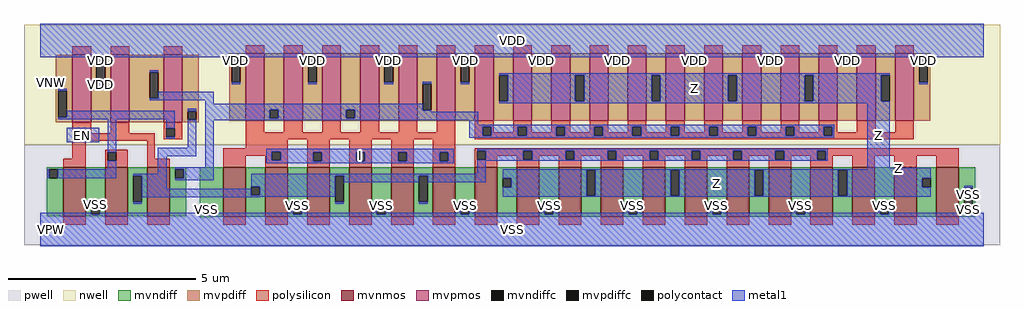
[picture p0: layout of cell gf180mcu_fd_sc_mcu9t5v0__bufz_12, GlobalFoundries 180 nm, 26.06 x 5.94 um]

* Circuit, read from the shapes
.subckt gf180mcu_fd_sc_mcu9t5v0__bufz_12 EN I Z VDD VNW VPW VSS
XM1 VSS EN n1 VPW nfet_06v0 w=1.32u l=0.6u
XM2 n2 n1 VSS VPW nfet_06v0 w=1.32u l=0.6u
XM3 n3 EN n2 VPW nfet_06v0 w=1.32u l=0.6u
XM4 n2 I VSS VPW nfet_06v0 w=1.32u l=0.6u m=6
XM5 Z n2 VSS VPW nfet_06v0 w=1.32u l=0.6u m=12
XM6 VDD EN n1 VNW pfet_06v0 w=1.8u l=0.5u
XM7 n3 EN VDD VNW pfet_06v0 w=1.8u l=0.5u
XM8 n2 n1 n3 VNW pfet_06v0 w=1.8u l=0.5u
XM9 n3 I VDD VNW pfet_06v0 w=1.8u l=0.5u m=6
XM10 Z n3 VDD VNW pfet_06v0 w=1.8u l=0.5u m=12
.ends

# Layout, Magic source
magic
tech gf180mcuD
magscale 1 10
<< nwell >>
rect -86 453 5126 1094
<< pwell >>
rect -86 -86 5126 453
<< mvnmos >>
rect 124 69 244 333
rect 348 69 468 333
rect 572 69 692 333
rect 978 68 1098 332
rect 1202 68 1322 332
rect 1426 68 1546 332
rect 1650 68 1770 332
rect 1874 68 1994 332
rect 2098 68 2218 332
rect 2322 68 2442 332
rect 2546 68 2666 332
rect 2770 68 2890 332
rect 2994 68 3114 332
rect 3218 68 3338 332
rect 3442 68 3562 332
rect 3666 68 3786 332
rect 3890 68 4010 332
rect 4114 68 4234 332
rect 4338 68 4458 332
rect 4562 68 4682 332
rect 4786 68 4906 332
<< mvpmos >>
rect 172 573 272 933
rect 376 573 476 933
rect 660 573 760 933
rect 1098 580 1198 940
rect 1302 580 1402 940
rect 1506 580 1606 940
rect 1710 580 1810 940
rect 1914 580 2014 940
rect 2118 580 2218 940
rect 2322 580 2422 940
rect 2526 580 2626 940
rect 2730 580 2830 940
rect 2934 580 3034 940
rect 3138 580 3238 940
rect 3342 580 3442 940
rect 3546 580 3646 940
rect 3750 580 3850 940
rect 3954 580 4054 940
rect 4158 580 4258 940
rect 4362 580 4462 940
rect 4566 580 4666 940
<< mvndiff >>
rect 36 320 124 333
rect 36 274 49 320
rect 95 274 124 320
rect 36 69 124 274
rect 244 128 348 333
rect 244 82 273 128
rect 319 82 348 128
rect 244 69 348 82
rect 468 287 572 333
rect 468 147 497 287
rect 543 147 572 287
rect 468 69 572 147
rect 692 320 780 333
rect 692 274 721 320
rect 767 274 780 320
rect 692 69 780 274
rect 852 125 978 332
rect 852 79 865 125
rect 911 79 978 125
rect 852 68 978 79
rect 1098 228 1202 332
rect 1098 182 1127 228
rect 1173 182 1202 228
rect 1098 68 1202 182
rect 1322 127 1426 332
rect 1322 81 1351 127
rect 1397 81 1426 127
rect 1322 68 1426 81
rect 1546 287 1650 332
rect 1546 147 1575 287
rect 1621 147 1650 287
rect 1546 68 1650 147
rect 1770 127 1874 332
rect 1770 81 1799 127
rect 1845 81 1874 127
rect 1770 68 1874 81
rect 1994 287 2098 332
rect 1994 147 2023 287
rect 2069 147 2098 287
rect 1994 68 2098 147
rect 2218 127 2322 332
rect 2218 81 2247 127
rect 2293 81 2322 127
rect 2218 68 2322 81
rect 2442 272 2546 332
rect 2442 226 2471 272
rect 2517 226 2546 272
rect 2442 68 2546 226
rect 2666 127 2770 332
rect 2666 81 2695 127
rect 2741 81 2770 127
rect 2666 68 2770 81
rect 2890 319 2994 332
rect 2890 179 2919 319
rect 2965 179 2994 319
rect 2890 68 2994 179
rect 3114 127 3218 332
rect 3114 81 3143 127
rect 3189 81 3218 127
rect 3114 68 3218 81
rect 3338 319 3442 332
rect 3338 179 3367 319
rect 3413 179 3442 319
rect 3338 68 3442 179
rect 3562 127 3666 332
rect 3562 81 3591 127
rect 3637 81 3666 127
rect 3562 68 3666 81
rect 3786 319 3890 332
rect 3786 179 3815 319
rect 3861 179 3890 319
rect 3786 68 3890 179
rect 4010 127 4114 332
rect 4010 81 4039 127
rect 4085 81 4114 127
rect 4010 68 4114 81
rect 4234 319 4338 332
rect 4234 179 4263 319
rect 4309 179 4338 319
rect 4234 68 4338 179
rect 4458 127 4562 332
rect 4458 81 4487 127
rect 4533 81 4562 127
rect 4458 68 4562 81
rect 4682 272 4786 332
rect 4682 226 4711 272
rect 4757 226 4786 272
rect 4682 68 4786 226
rect 4906 221 4994 332
rect 4906 81 4935 221
rect 4981 81 4994 221
rect 4906 68 4994 81
rect 852 66 918 68
<< mvpdiff >>
rect 84 739 172 933
rect 84 599 97 739
rect 143 599 172 739
rect 84 573 172 599
rect 272 920 376 933
rect 272 780 301 920
rect 347 780 376 920
rect 272 573 376 780
rect 476 840 660 933
rect 476 700 585 840
rect 631 700 660 840
rect 476 573 660 700
rect 760 632 848 933
rect 760 586 789 632
rect 835 586 848 632
rect 760 573 848 586
rect 1010 927 1098 940
rect 1010 787 1023 927
rect 1069 787 1098 927
rect 1010 580 1098 787
rect 1198 639 1302 940
rect 1198 593 1227 639
rect 1273 593 1302 639
rect 1198 580 1302 593
rect 1402 927 1506 940
rect 1402 787 1431 927
rect 1477 787 1506 927
rect 1402 580 1506 787
rect 1606 639 1710 940
rect 1606 593 1635 639
rect 1681 593 1710 639
rect 1606 580 1710 593
rect 1810 927 1914 940
rect 1810 787 1839 927
rect 1885 787 1914 927
rect 1810 580 1914 787
rect 2014 777 2118 940
rect 2014 637 2043 777
rect 2089 637 2118 777
rect 2014 580 2118 637
rect 2218 927 2322 940
rect 2218 787 2247 927
rect 2293 787 2322 927
rect 2218 580 2322 787
rect 2422 824 2526 940
rect 2422 684 2451 824
rect 2497 684 2526 824
rect 2422 580 2526 684
rect 2626 927 2730 940
rect 2626 881 2655 927
rect 2701 881 2730 927
rect 2626 580 2730 881
rect 2830 824 2934 940
rect 2830 684 2859 824
rect 2905 684 2934 824
rect 2830 580 2934 684
rect 3034 927 3138 940
rect 3034 881 3063 927
rect 3109 881 3138 927
rect 3034 580 3138 881
rect 3238 824 3342 940
rect 3238 684 3267 824
rect 3313 684 3342 824
rect 3238 580 3342 684
rect 3442 927 3546 940
rect 3442 881 3471 927
rect 3517 881 3546 927
rect 3442 580 3546 881
rect 3646 824 3750 940
rect 3646 684 3675 824
rect 3721 684 3750 824
rect 3646 580 3750 684
rect 3850 927 3954 940
rect 3850 881 3879 927
rect 3925 881 3954 927
rect 3850 580 3954 881
rect 4054 824 4158 940
rect 4054 684 4083 824
rect 4129 684 4158 824
rect 4054 580 4158 684
rect 4258 927 4362 940
rect 4258 881 4287 927
rect 4333 881 4362 927
rect 4258 580 4362 881
rect 4462 824 4566 940
rect 4462 684 4491 824
rect 4537 684 4566 824
rect 4462 580 4566 684
rect 4666 927 4754 940
rect 4666 787 4695 927
rect 4741 787 4754 927
rect 4666 580 4754 787
<< mvndiffc >>
rect 49 274 95 320
rect 273 82 319 128
rect 497 147 543 287
rect 721 274 767 320
rect 865 79 911 125
rect 1127 182 1173 228
rect 1351 81 1397 127
rect 1575 147 1621 287
rect 1799 81 1845 127
rect 2023 147 2069 287
rect 2247 81 2293 127
rect 2471 226 2517 272
rect 2695 81 2741 127
rect 2919 179 2965 319
rect 3143 81 3189 127
rect 3367 179 3413 319
rect 3591 81 3637 127
rect 3815 179 3861 319
rect 4039 81 4085 127
rect 4263 179 4309 319
rect 4487 81 4533 127
rect 4711 226 4757 272
rect 4935 81 4981 221
<< mvpdiffc >>
rect 97 599 143 739
rect 301 780 347 920
rect 585 700 631 840
rect 789 586 835 632
rect 1023 787 1069 927
rect 1227 593 1273 639
rect 1431 787 1477 927
rect 1635 593 1681 639
rect 1839 787 1885 927
rect 2043 637 2089 777
rect 2247 787 2293 927
rect 2451 684 2497 824
rect 2655 881 2701 927
rect 2859 684 2905 824
rect 3063 881 3109 927
rect 3267 684 3313 824
rect 3471 881 3517 927
rect 3675 684 3721 824
rect 3879 881 3925 927
rect 4083 684 4129 824
rect 4287 881 4333 927
rect 4491 684 4537 824
rect 4695 787 4741 927
<< polysilicon >>
rect 172 933 272 977
rect 376 933 476 977
rect 660 933 760 977
rect 1098 940 1198 984
rect 1302 940 1402 984
rect 1506 940 1606 984
rect 1710 940 1810 984
rect 1914 940 2014 984
rect 2118 940 2218 984
rect 2322 940 2422 984
rect 2526 940 2626 984
rect 2730 940 2830 984
rect 2934 940 3034 984
rect 3138 940 3238 984
rect 3342 940 3442 984
rect 3546 940 3646 984
rect 3750 940 3850 984
rect 3954 940 4054 984
rect 4158 940 4258 984
rect 4362 940 4462 984
rect 4566 940 4666 984
rect 172 523 272 573
rect 172 477 185 523
rect 231 513 272 523
rect 376 513 476 573
rect 660 540 760 573
rect 231 477 612 513
rect 660 494 673 540
rect 719 494 760 540
rect 660 481 760 494
rect 1098 520 1198 580
rect 1302 520 1402 580
rect 1506 520 1606 580
rect 1710 520 1810 580
rect 1914 520 2014 580
rect 2118 520 2218 580
rect 172 473 612 477
rect 172 377 244 473
rect 124 333 244 377
rect 348 412 468 425
rect 348 366 361 412
rect 407 366 468 412
rect 348 333 468 366
rect 572 377 612 473
rect 1098 480 2218 520
rect 2322 547 2422 580
rect 2322 501 2363 547
rect 2409 520 2422 547
rect 2526 547 2626 580
rect 2526 520 2552 547
rect 2409 501 2552 520
rect 2598 520 2626 547
rect 2730 547 2830 580
rect 2730 520 2757 547
rect 2598 501 2757 520
rect 2803 520 2830 547
rect 2934 547 3034 580
rect 2934 520 2959 547
rect 2803 501 2959 520
rect 3005 520 3034 547
rect 3138 547 3238 580
rect 3138 520 3163 547
rect 3005 501 3163 520
rect 3209 520 3238 547
rect 3342 547 3442 580
rect 3342 520 3368 547
rect 3209 501 3368 520
rect 3414 520 3442 547
rect 3546 547 3646 580
rect 3546 520 3573 547
rect 3414 501 3573 520
rect 3619 520 3646 547
rect 3750 547 3850 580
rect 3750 520 3778 547
rect 3619 501 3778 520
rect 3824 520 3850 547
rect 3954 547 4054 580
rect 3954 520 3981 547
rect 3824 501 3981 520
rect 4027 520 4054 547
rect 4158 547 4258 580
rect 4158 520 4185 547
rect 4027 501 4185 520
rect 4231 520 4258 547
rect 4362 520 4462 580
rect 4566 520 4666 580
rect 4231 501 4666 520
rect 2322 480 4666 501
rect 1098 432 1322 480
rect 978 414 1322 432
rect 978 392 1238 414
rect 572 333 692 377
rect 978 332 1098 392
rect 1202 368 1238 392
rect 1284 368 1322 414
rect 1202 332 1322 368
rect 1426 411 1546 480
rect 1426 365 1458 411
rect 1504 365 1546 411
rect 1426 332 1546 365
rect 1650 411 1770 480
rect 1650 365 1688 411
rect 1734 365 1770 411
rect 1650 332 1770 365
rect 1874 411 1994 480
rect 1874 365 1912 411
rect 1958 365 1994 411
rect 1874 332 1994 365
rect 2098 411 2218 480
rect 2098 365 2134 411
rect 2180 365 2218 411
rect 2098 332 2218 365
rect 2322 419 4906 432
rect 2322 373 2335 419
rect 2381 392 2581 419
rect 2381 373 2442 392
rect 2322 332 2442 373
rect 2546 373 2581 392
rect 2627 392 2806 419
rect 2627 373 2666 392
rect 2546 332 2666 373
rect 2770 373 2806 392
rect 2852 392 3032 419
rect 2852 373 2890 392
rect 2770 332 2890 373
rect 2994 373 3032 392
rect 3078 392 3255 419
rect 3078 373 3114 392
rect 2994 332 3114 373
rect 3218 373 3255 392
rect 3301 392 3479 419
rect 3301 373 3338 392
rect 3218 332 3338 373
rect 3442 373 3479 392
rect 3525 392 3702 419
rect 3525 373 3562 392
rect 3442 332 3562 373
rect 3666 373 3702 392
rect 3748 392 3927 419
rect 3748 373 3786 392
rect 3666 332 3786 373
rect 3890 373 3927 392
rect 3973 392 4150 419
rect 3973 373 4010 392
rect 3890 332 4010 373
rect 4114 373 4150 392
rect 4196 392 4906 419
rect 4196 373 4234 392
rect 4114 332 4234 373
rect 4338 332 4458 392
rect 4562 332 4682 392
rect 4786 332 4906 392
rect 124 25 244 69
rect 348 25 468 69
rect 572 25 692 69
rect 978 24 1098 68
rect 1202 24 1322 68
rect 1426 24 1546 68
rect 1650 24 1770 68
rect 1874 24 1994 68
rect 2098 24 2218 68
rect 2322 24 2442 68
rect 2546 24 2666 68
rect 2770 24 2890 68
rect 2994 24 3114 68
rect 3218 24 3338 68
rect 3442 24 3562 68
rect 3666 24 3786 68
rect 3890 24 4010 68
rect 4114 24 4234 68
rect 4338 24 4458 68
rect 4562 24 4682 68
rect 4786 24 4906 68
<< polycontact >>
rect 185 477 231 523
rect 673 494 719 540
rect 361 366 407 412
rect 2363 501 2409 547
rect 2552 501 2598 547
rect 2757 501 2803 547
rect 2959 501 3005 547
rect 3163 501 3209 547
rect 3368 501 3414 547
rect 3573 501 3619 547
rect 3778 501 3824 547
rect 3981 501 4027 547
rect 4185 501 4231 547
rect 1238 368 1284 414
rect 1458 365 1504 411
rect 1688 365 1734 411
rect 1912 365 1958 411
rect 2134 365 2180 411
rect 2335 373 2381 419
rect 2581 373 2627 419
rect 2806 373 2852 419
rect 3032 373 3078 419
rect 3255 373 3301 419
rect 3479 373 3525 419
rect 3702 373 3748 419
rect 3927 373 3973 419
rect 4150 373 4196 419
<< metal1 >>
rect 0 927 5040 1098
rect 0 920 1023 927
rect 0 918 301 920
rect 347 918 1023 920
rect 301 769 347 780
rect 585 840 631 851
rect 97 739 143 750
rect 1069 918 1431 927
rect 1023 776 1069 787
rect 1477 918 1839 927
rect 1431 776 1477 787
rect 1885 918 2247 927
rect 1839 776 1885 787
rect 2043 777 2089 788
rect 631 700 927 735
rect 585 689 927 700
rect 881 672 927 689
rect 143 599 719 634
rect 97 588 719 599
rect 142 523 315 542
rect 142 477 185 523
rect 231 477 315 523
rect 142 466 315 477
rect 361 412 407 588
rect 673 540 719 588
rect 673 483 719 494
rect 789 632 835 643
rect 789 437 835 586
rect 361 320 407 366
rect 38 274 49 320
rect 95 274 407 320
rect 629 391 835 437
rect 881 639 2043 672
rect 881 593 1227 639
rect 1273 593 1635 639
rect 1681 637 2043 639
rect 2293 918 2655 927
rect 2644 881 2655 918
rect 2701 918 3063 927
rect 2701 881 2712 918
rect 3052 881 3063 918
rect 3109 918 3471 927
rect 3109 881 3120 918
rect 3460 881 3471 918
rect 3517 918 3879 927
rect 3517 881 3528 918
rect 3868 881 3879 918
rect 3925 918 4287 927
rect 3925 881 3936 918
rect 4276 881 4287 918
rect 4333 918 4695 927
rect 4333 881 4344 918
rect 2247 776 2293 787
rect 2451 824 4537 835
rect 2497 684 2859 824
rect 2905 684 3267 824
rect 3313 684 3675 824
rect 3721 684 4083 824
rect 4129 684 4491 824
rect 4741 918 5040 927
rect 4695 776 4741 787
rect 2451 673 4537 684
rect 1681 628 2089 637
rect 1681 593 2339 628
rect 881 582 2339 593
rect 629 298 675 391
rect 881 331 927 582
rect 2293 558 2339 582
rect 2293 547 4242 558
rect 2293 501 2363 547
rect 2409 501 2552 547
rect 2598 501 2757 547
rect 2803 501 2959 547
rect 3005 501 3163 547
rect 3209 501 3368 547
rect 3414 501 3573 547
rect 3619 501 3778 547
rect 3824 501 3981 547
rect 4027 501 4185 547
rect 4231 501 4242 547
rect 2293 490 4242 501
rect 1208 414 2210 430
rect 1208 368 1238 414
rect 1284 411 2210 414
rect 1284 368 1458 411
rect 1208 365 1458 368
rect 1504 365 1688 411
rect 1734 365 1912 411
rect 1958 365 2134 411
rect 2180 365 2210 411
rect 1208 354 2210 365
rect 2335 419 4207 430
rect 2381 373 2581 419
rect 2627 373 2806 419
rect 2852 373 3032 419
rect 3078 373 3255 419
rect 3301 373 3479 419
rect 3525 373 3702 419
rect 3748 373 3927 419
rect 3973 373 4150 419
rect 4196 373 4207 419
rect 2335 366 4207 373
rect 497 287 675 298
rect 543 217 675 287
rect 721 320 927 331
rect 767 274 927 320
rect 2335 298 2381 366
rect 4416 330 4537 673
rect 4416 320 4757 330
rect 721 263 927 274
rect 1127 287 2381 298
rect 1127 228 1575 287
rect 543 182 1127 217
rect 1173 182 1575 228
rect 543 173 1575 182
rect 543 171 1173 173
rect 273 128 319 139
rect 497 136 543 147
rect 1621 252 2023 287
rect 1575 136 1621 147
rect 2069 252 2381 287
rect 2471 319 4757 320
rect 2471 272 2919 319
rect 2517 226 2919 272
rect 2471 179 2919 226
rect 2965 179 3367 319
rect 3413 179 3815 319
rect 3861 179 4263 319
rect 4309 272 4757 319
rect 4309 226 4711 272
rect 4309 179 4757 226
rect 2471 173 4757 179
rect 4935 221 4981 232
rect 2023 136 2069 147
rect 0 82 273 90
rect 854 90 865 125
rect 319 82 865 90
rect 0 79 865 82
rect 911 90 922 125
rect 1340 90 1351 127
rect 911 81 1351 90
rect 1397 90 1408 127
rect 1788 90 1799 127
rect 1397 81 1799 90
rect 1845 90 1856 127
rect 2236 90 2247 127
rect 1845 81 2247 90
rect 2293 90 2304 127
rect 2684 90 2695 127
rect 2293 81 2695 90
rect 2741 90 2752 127
rect 3132 90 3143 127
rect 2741 81 3143 90
rect 3189 90 3200 127
rect 3580 90 3591 127
rect 3189 81 3591 90
rect 3637 90 3648 127
rect 4028 90 4039 127
rect 3637 81 4039 90
rect 4085 90 4096 127
rect 4476 90 4487 127
rect 4085 81 4487 90
rect 4533 90 4544 127
rect 4533 81 4935 90
rect 4981 81 5040 90
rect 911 79 5040 81
rect 0 -90 5040 79
<< labels >>
flabel metal1 s 142 466 315 542 0 FreeSans 200 0 0 0 EN
port 1 nsew default input
flabel metal1 s 1208 354 2210 430 0 FreeSans 200 0 0 0 I
port 2 nsew default input
flabel metal1 s 0 918 5040 1098 0 FreeSans 200 0 0 0 VDD
port 4 nsew power bidirectional abutment
flabel metal1 s 4935 139 4981 232 0 FreeSans 200 0 0 0 VSS
port 7 nsew ground bidirectional abutment
flabel metal1 s 2451 673 4537 835 0 FreeSans 200 0 0 0 Z
port 3 nsew default output
flabel nwell s 10 734 110 834 0 FreeSans 400 0 0 0 VNW
port 5 nsew power bidirectional
flabel pwell s 10 -50 110 50 0 FreeSans 400 0 0 0 VPW
port 6 nsew ground bidirectional
rlabel metal1 s 4416 330 4537 673 1 Z
port 3 nsew default output
rlabel metal1 s 4416 320 4757 330 1 Z
port 3 nsew default output
rlabel metal1 s 2471 173 4757 320 1 Z
port 3 nsew default output
rlabel metal1 s 4695 881 4741 918 1 VDD
port 4 nsew power bidirectional abutment
rlabel metal1 s 4276 881 4344 918 1 VDD
port 4 nsew power bidirectional abutment
rlabel metal1 s 3868 881 3936 918 1 VDD
port 4 nsew power bidirectional abutment
rlabel metal1 s 3460 881 3528 918 1 VDD
port 4 nsew power bidirectional abutment
rlabel metal1 s 3052 881 3120 918 1 VDD
port 4 nsew power bidirectional abutment
rlabel metal1 s 2644 881 2712 918 1 VDD
port 4 nsew power bidirectional abutment
rlabel metal1 s 2247 881 2293 918 1 VDD
port 4 nsew power bidirectional abutment
rlabel metal1 s 1839 881 1885 918 1 VDD
port 4 nsew power bidirectional abutment
rlabel metal1 s 1431 881 1477 918 1 VDD
port 4 nsew power bidirectional abutment
rlabel metal1 s 1023 881 1069 918 1 VDD
port 4 nsew power bidirectional abutment
rlabel metal1 s 301 881 347 918 1 VDD
port 4 nsew power bidirectional abutment
rlabel metal1 s 4695 776 4741 881 1 VDD
port 4 nsew power bidirectional abutment
rlabel metal1 s 2247 776 2293 881 1 VDD
port 4 nsew power bidirectional abutment
rlabel metal1 s 1839 776 1885 881 1 VDD
port 4 nsew power bidirectional abutment
rlabel metal1 s 1431 776 1477 881 1 VDD
port 4 nsew power bidirectional abutment
rlabel metal1 s 1023 776 1069 881 1 VDD
port 4 nsew power bidirectional abutment
rlabel metal1 s 301 776 347 881 1 VDD
port 4 nsew power bidirectional abutment
rlabel metal1 s 301 769 347 776 1 VDD
port 4 nsew power bidirectional abutment
rlabel metal1 s 4935 127 4981 139 1 VSS
port 7 nsew ground bidirectional abutment
rlabel metal1 s 273 127 319 139 1 VSS
port 7 nsew ground bidirectional abutment
rlabel metal1 s 4935 125 4981 127 1 VSS
port 7 nsew ground bidirectional abutment
rlabel metal1 s 4476 125 4544 127 1 VSS
port 7 nsew ground bidirectional abutment
rlabel metal1 s 4028 125 4096 127 1 VSS
port 7 nsew ground bidirectional abutment
rlabel metal1 s 3580 125 3648 127 1 VSS
port 7 nsew ground bidirectional abutment
rlabel metal1 s 3132 125 3200 127 1 VSS
port 7 nsew ground bidirectional abutment
rlabel metal1 s 2684 125 2752 127 1 VSS
port 7 nsew ground bidirectional abutment
rlabel metal1 s 2236 125 2304 127 1 VSS
port 7 nsew ground bidirectional abutment
rlabel metal1 s 1788 125 1856 127 1 VSS
port 7 nsew ground bidirectional abutment
rlabel metal1 s 1340 125 1408 127 1 VSS
port 7 nsew ground bidirectional abutment
rlabel metal1 s 273 125 319 127 1 VSS
port 7 nsew ground bidirectional abutment
rlabel metal1 s 4935 90 4981 125 1 VSS
port 7 nsew ground bidirectional abutment
rlabel metal1 s 4476 90 4544 125 1 VSS
port 7 nsew ground bidirectional abutment
rlabel metal1 s 4028 90 4096 125 1 VSS
port 7 nsew ground bidirectional abutment
rlabel metal1 s 3580 90 3648 125 1 VSS
port 7 nsew ground bidirectional abutment
rlabel metal1 s 3132 90 3200 125 1 VSS
port 7 nsew ground bidirectional abutment
rlabel metal1 s 2684 90 2752 125 1 VSS
port 7 nsew ground bidirectional abutment
rlabel metal1 s 2236 90 2304 125 1 VSS
port 7 nsew ground bidirectional abutment
rlabel metal1 s 1788 90 1856 125 1 VSS
port 7 nsew ground bidirectional abutment
rlabel metal1 s 1340 90 1408 125 1 VSS
port 7 nsew ground bidirectional abutment
rlabel metal1 s 854 90 922 125 1 VSS
port 7 nsew ground bidirectional abutment
rlabel metal1 s 273 90 319 125 1 VSS
port 7 nsew ground bidirectional abutment
rlabel metal1 s 0 -90 5040 90 1 VSS
port 7 nsew ground bidirectional abutment
<< properties >>
string FIXED_BBOX 0 0 5040 1008
string GDS_END 1367650
string GDS_FILE $PDKPATH/libs.ref/gf180mcu_fd_sc_mcu9t5v0/gds/gf180mcu_fd_sc_mcu9t5v0.gds
string GDS_START 1356782
string LEFclass core
string LEFsite GF018hv5v_green_sc9
string LEFsymmetry X Y
<< end >>
